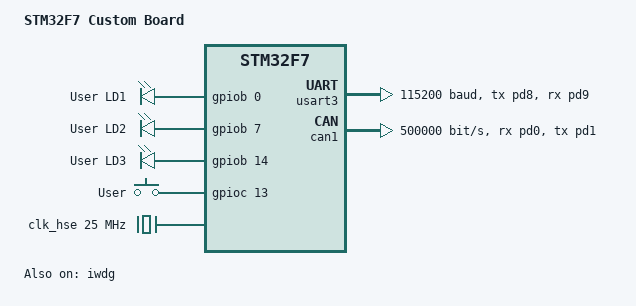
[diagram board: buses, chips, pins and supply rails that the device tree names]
/*
 * SPDX-License-Identifier: Apache-2.0
 */

/dts-v1/;
#include <st/f7/stm32f767Xi.dtsi>
#include <st/f7/stm32f767zitx-pinctrl.dtsi>

/ {
	model = "STM32F7 Custom Board";
	compatible = "st,stm32f7-custom";

	chosen {
		zephyr,console = &usart3;
		zephyr,shell-uart = &usart3;
		zephyr,sram = &sram0;
		zephyr,flash = &flash0;
		zephyr,code-partition = &slot0_partition;
		zephyr,canbus = &can1;
	};

	leds {
		compatible = "gpio-leds";
		green_led: led_0 {
			gpios = <&gpiob 0 GPIO_ACTIVE_HIGH>;
			label = "User LD1";
		};
		blue_led: led_1 {
			gpios = <&gpiob 7 GPIO_ACTIVE_HIGH>;
			label = "User LD2";
		};
		red_led: led_2 {
			gpios = <&gpiob 14 GPIO_ACTIVE_HIGH>;
			label = "User LD3";
		};
	};

	aliases {
		led0 = &green_led;
		led1 = &blue_led;
		led2 = &red_led;
		mcuboot-led0 = &green_led;
		mcuboot-button0 = &user_button;
	};

	gpio_keys {
		compatible = "gpio-keys";
		user_button: button_0 {
			label = "User";
			gpios = <&gpioc 13 GPIO_ACTIVE_HIGH>;
		};
	};
};

&clk_lsi {
	status = "okay";
};

&clk_hse {
	clock-frequency = <DT_FREQ_M(25)>;
	status = "okay";
};

&pll {
	div-m = <25>;
	mul-n = <432>;
	div-p = <2>;
	div-q = <9>;
	clocks = <&clk_hse>;
	status = "okay";
};

&rcc {
	clocks = <&pll>;
	clock-frequency = <DT_FREQ_M(216)>;
	ahb-prescaler = <1>;
	apb1-prescaler = <4>;
	apb2-prescaler = <2>;
};

&usart3 {
	pinctrl-0 = <&usart3_tx_pd8 &usart3_rx_pd9>;
	pinctrl-names = "default";
	current-speed = <115200>;
	status = "okay";
};

&can1 {
	pinctrl-0 = <&can1_rx_pd0 &can1_tx_pd1>;
	pinctrl-names = "default";
	bus-speed = <500000>;
	status = "okay";
};

&flash0 {
	partitions {
		compatible = "fixed-partitions";
		#address-cells = <1>;
		#size-cells = <1>;

		boot_partition: partition@0 {
			label = "mcuboot";
			reg = <0x00000000 DT_SIZE_K(128)>;
			read-only;
		};

		slot0_partition: partition@20000 {
			label = "image-0";
			reg = <0x00020000 DT_SIZE_K(448)>;
		};

		slot1_partition: partition@90000 {
			label = "image-1";
			reg = <0x00090000 DT_SIZE_K(448)>;
		};

		storage_partition: partition@100000 {
			label = "storage";
			reg = <0x00100000 DT_SIZE_K(896)>;
		};
	};
};

&iwdg {
	status = "okay";
};
